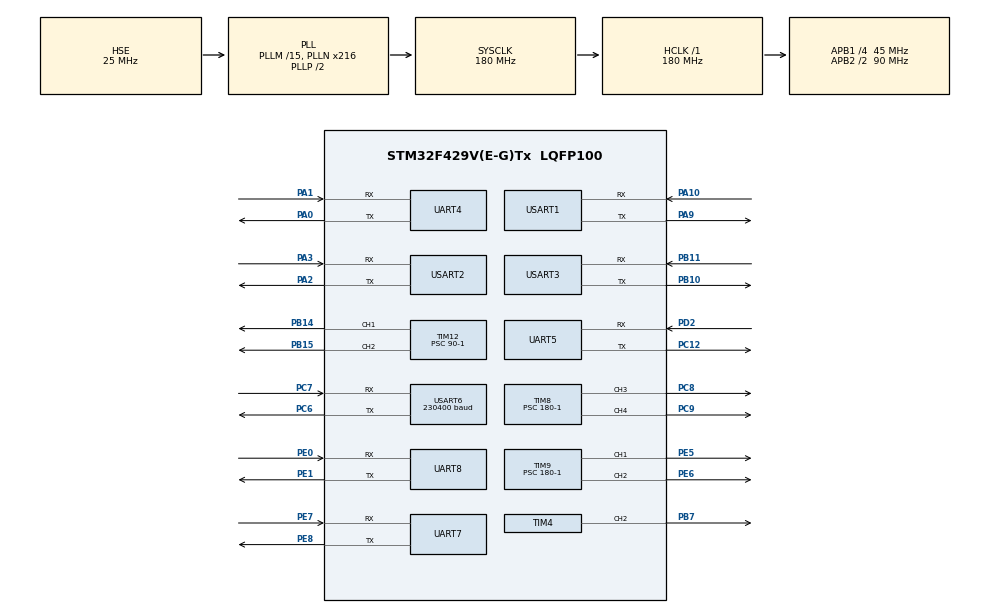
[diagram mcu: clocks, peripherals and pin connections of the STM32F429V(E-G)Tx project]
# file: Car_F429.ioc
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Dma.Request0=USART2_RX
Dma.Request1=UART4_RX
Dma.Request2=UART5_RX
Dma.Request3=UART7_RX
Dma.UART4_RX.1.Direction=DMA_PERIPH_TO_MEMORY
Dma.UART4_RX.1.FIFOMode=DMA_FIFOMODE_DISABLE
Dma.UART4_RX.1.Instance=DMA1_Stream2
Dma.UART4_RX.1.MemDataAlignment=DMA_MDATAALIGN_BYTE
Dma.UART4_RX.1.MemInc=DMA_MINC_ENABLE
Dma.UART4_RX.1.Mode=DMA_NORMAL
Dma.UART4_RX.1.PeriphDataAlignment=DMA_PDATAALIGN_BYTE
Dma.UART4_RX.1.PeriphInc=DMA_PINC_DISABLE
Dma.UART4_RX.1.Priority=DMA_PRIORITY_LOW
Dma.UART5_RX.2.Direction=DMA_PERIPH_TO_MEMORY
Dma.UART5_RX.2.FIFOMode=DMA_FIFOMODE_DISABLE
Dma.UART5_RX.2.Instance=DMA1_Stream0
Dma.UART5_RX.2.MemDataAlignment=DMA_MDATAALIGN_BYTE
Dma.UART5_RX.2.MemInc=DMA_MINC_ENABLE
Dma.UART5_RX.2.Mode=DMA_NORMAL
Dma.UART5_RX.2.PeriphDataAlignment=DMA_PDATAALIGN_BYTE
Dma.UART5_RX.2.PeriphInc=DMA_PINC_DISABLE
Dma.UART5_RX.2.Priority=DMA_PRIORITY_LOW
Dma.UART7_RX.3.Direction=DMA_PERIPH_TO_MEMORY
Dma.UART7_RX.3.FIFOMode=DMA_FIFOMODE_DISABLE
Dma.UART7_RX.3.Instance=DMA1_Stream3
Dma.UART7_RX.3.MemDataAlignment=DMA_MDATAALIGN_BYTE
Dma.UART7_RX.3.MemInc=DMA_MINC_ENABLE
Dma.UART7_RX.3.Mode=DMA_NORMAL
Dma.UART7_RX.3.PeriphDataAlignment=DMA_PDATAALIGN_BYTE
Dma.UART7_RX.3.PeriphInc=DMA_PINC_DISABLE
Dma.UART7_RX.3.Priority=DMA_PRIORITY_LOW
Dma.USART2_RX.0.Direction=DMA_PERIPH_TO_MEMORY
Dma.USART2_RX.0.FIFOMode=DMA_FIFOMODE_DISABLE
Dma.USART2_RX.0.Instance=DMA1_Stream5
Dma.USART2_RX.0.MemDataAlignment=DMA_MDATAALIGN_BYTE
Dma.USART2_RX.0.MemInc=DMA_MINC_ENABLE
Dma.USART2_RX.0.Mode=DMA_NORMAL
Dma.USART2_RX.0.PeriphDataAlignment=DMA_PDATAALIGN_BYTE
Dma.USART2_RX.0.PeriphInc=DMA_PINC_DISABLE
Dma.USART2_RX.0.Priority=DMA_PRIORITY_LOW
Mcu.Family=STM32F4
Mcu.Name=STM32F429V(E-G)Tx
Mcu.Package=LQFP100
NVIC.DMA1_Stream0_IRQn=true\:0\:0\:false\:false\:true\:false\:true\:true
NVIC.DMA1_Stream2_IRQn=true\:0\:0\:false\:false\:true\:false\:true\:true
NVIC.DMA1_Stream3_IRQn=true\:0\:0\:false\:false\:true\:false\:true\:true
NVIC.DMA1_Stream5_IRQn=true\:0\:0\:false\:false\:true\:false\:true\:true
NVIC.PriorityGroup=NVIC_PRIORITYGROUP_4
NVIC.TIM1_UP_TIM10_IRQn=true\:0\:0\:false\:false\:true\:true\:true\:true
NVIC.TIM2_IRQn=true\:0\:0\:false\:false\:true\:true\:true\:true
NVIC.TIM3_IRQn=true\:1\:0\:true\:false\:true\:true\:true\:true
NVIC.UART4_IRQn=true\:1\:0\:true\:false\:true\:true\:true\:true
NVIC.UART5_IRQn=true\:4\:0\:true\:false\:true\:true\:true\:true
NVIC.UART7_IRQn=true\:1\:0\:true\:false\:true\:true\:true\:true
NVIC.USART1_IRQn=true\:2\:0\:true\:false\:true\:true\:true\:true
NVIC.USART2_IRQn=true\:1\:0\:true\:false\:true\:true\:true\:true
NVIC.USART6_IRQn=true\:0\:0\:true\:false\:true\:true\:true\:true
PA0/WKUP.Mode=Asynchronous
PA0/WKUP.Signal=UART4_TX
PA1.Mode=Asynchronous
PA1.Signal=UART4_RX
PA10.Mode=Asynchronous
PA10.Signal=USART1_RX
PA13.Mode=Serial_Wire
PA13.Signal=SYS_JTMS-SWDIO
PA14.Mode=Serial_Wire
PA14.Signal=SYS_JTCK-SWCLK
PA2.Mode=Asynchronous
PA2.Signal=USART2_TX
PA3.Mode=Asynchronous
PA3.Signal=USART2_RX
PA9.Mode=Asynchronous
PA9.Signal=USART1_TX
PB10.Mode=Asynchronous
PB10.Signal=USART3_TX
PB11.Mode=Asynchronous
PB11.Signal=USART3_RX
PB14.Signal=S_TIM12_CH1
PB15.Signal=S_TIM12_CH2
PB7.Signal=S_TIM4_CH2
PC12.Mode=Asynchronous
PC12.Signal=UART5_TX
PC6.Mode=Asynchronous
PC6.Signal=USART6_TX
PC7.Mode=Asynchronous
PC7.Signal=USART6_RX
PC8.Signal=S_TIM8_CH3
PC9.Signal=S_TIM8_CH4
PD2.Mode=Asynchronous
PD2.Signal=UART5_RX
PE0.Mode=Asynchronous
PE0.Signal=UART8_RX
PE1.Mode=Asynchronous
PE1.Signal=UART8_TX
PE5.Signal=S_TIM9_CH1
PE6.Signal=S_TIM9_CH2
PE7.Mode=Asynchronous
PE7.Signal=UART7_RX
PE8.Mode=Asynchronous
PE8.Signal=UART7_TX
PH0/OSC_IN.Mode=HSE-External-Oscillator
PH0/OSC_IN.Signal=RCC_OSC_IN
PH1/OSC_OUT.Mode=HSE-External-Oscillator
PH1/OSC_OUT.Signal=RCC_OSC_OUT
ProjectManager.HeapSize=0x200
ProjectManager.StackSize=0x400
ProjectManager.TargetToolchain=CMake
RCC.48MHZClocksFreq_Value=90000000
RCC.AHBFreq_Value=180000000
RCC.APB1CLKDivider=RCC_HCLK_DIV4
RCC.APB1Freq_Value=45000000
RCC.APB1TimFreq_Value=90000000
RCC.APB2CLKDivider=RCC_HCLK_DIV2
RCC.APB2Freq_Value=90000000
RCC.APB2TimFreq_Value=180000000
RCC.CortexFreq_Value=180000000
RCC.HCLKFreq_Value=180000000
RCC.HSE_VALUE=25000000
RCC.HSI_VALUE=16000000
RCC.LSE_VALUE=32768
RCC.PLLM=15
RCC.PLLN=216
RCC.PLLSourceVirtual=RCC_PLLSOURCE_HSE
RCC.SYSCLKFreq_VALUE=180000000
RCC.SYSCLKSource=RCC_SYSCLKSOURCE_PLLCLK
RCC.VCOOutputFreq_Value=360000000
SH.S_TIM12_CH1.0=TIM12_CH1,PWM Generation1 CH1
SH.S_TIM12_CH2.0=TIM12_CH2,PWM Generation2 CH2
SH.S_TIM4_CH2.0=TIM4_CH2,PWM Generation2 CH2
SH.S_TIM8_CH3.0=TIM8_CH3,PWM Generation3 CH3
SH.S_TIM8_CH4.0=TIM8_CH4,PWM Generation4 CH4
SH.S_TIM9_CH1.0=TIM9_CH1,PWM Generation1 CH1
SH.S_TIM9_CH2.0=TIM9_CH2,PWM Generation2 CH2
TIM1.AutoReloadPreload=TIM_AUTORELOAD_PRELOAD_ENABLE
TIM1.Period=5000-1
TIM1.Prescaler=180-1
TIM12.AutoReloadPreload=TIM_AUTORELOAD_PRELOAD_ENABLE
TIM12.Channel-PWM\ Generation1\ CH1=TIM_CHANNEL_1
TIM12.Channel-PWM\ Generation2\ CH2=TIM_CHANNEL_2
TIM12.Period=20000-1
TIM12.Prescaler=90-1
TIM2.AutoReloadPreload=TIM_AUTORELOAD_PRELOAD_ENABLE
TIM2.Period=50000-1
TIM2.Prescaler=1800-1
TIM3.AutoReloadPreload=TIM_AUTORELOAD_PRELOAD_ENABLE
TIM3.Period=50000-1
TIM3.Prescaler=1800-1
TIM4.AutoReloadPreload=TIM_AUTORELOAD_PRELOAD_ENABLE
TIM4.Channel-PWM\ Generation2\ CH2=TIM_CHANNEL_2
TIM4.Period=20000-1
TIM4.Prescaler=90-1
TIM8.AutoReloadPreload=TIM_AUTORELOAD_PRELOAD_ENABLE
TIM8.Channel-PWM\ Generation3\ CH3=TIM_CHANNEL_3
TIM8.Channel-PWM\ Generation4\ CH4=TIM_CHANNEL_4
TIM8.Period=20000-1
TIM8.Prescaler=180-1
TIM9.AutoReloadPreload=TIM_AUTORELOAD_PRELOAD_ENABLE
TIM9.Channel-PWM\ Generation1\ CH1=TIM_CHANNEL_1
TIM9.Channel-PWM\ Generation2\ CH2=TIM_CHANNEL_2
TIM9.Period=20000-1
TIM9.Prescaler=180-1
UART4.VirtualMode=Asynchronous
UART5.VirtualMode=Asynchronous
UART7.VirtualMode=Asynchronous
UART8.VirtualMode=Asynchronous
USART1.VirtualMode=VM_ASYNC
USART2.VirtualMode=VM_ASYNC
USART3.VirtualMode=VM_ASYNC
USART6.BaudRate=230400
USART6.VirtualMode=VM_ASYNC
VP_TIM12_VS_ClockSourceINT.Mode=Internal
VP_TIM1_VS_ClockSourceINT.Mode=Internal
VP_TIM2_VS_ClockSourceINT.Mode=Internal
VP_TIM3_VS_ClockSourceINT.Mode=Internal
VP_TIM4_VS_ClockSourceINT.Mode=Internal
VP_TIM8_VS_ClockSourceINT.Mode=Internal
VP_TIM9_VS_ClockSourceINT.Mode=Internal
board=custom

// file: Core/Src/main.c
/* USER CODE BEGIN Header */
/**
 ******************************************************************************
 * @file           : main.c
 * @brief          : Main program body
 ******************************************************************************
 * @attention
 *
 * Copyright (c) 2026 STMicroelectronics.
 * All rights reserved.
 *
 * This software is licensed under terms that can be found in the LICENSE file
 * in the root directory of this software component.
 * If no LICENSE file comes with this software, it is provided AS-IS.
 *
 ******************************************************************************
 */
/* USER CODE END Header */
#include "main.h"
#include "dma.h"
#include "gpio.h"
#include "tim.h"
#include "usart.h"

/* USER CODE BEGIN Includes */
#include "OPS9.h"
#include "ar_screen.h"
#include "arm_control.h"
#include "cy_z.h"
#include "ldrobot_stl.h"
#include "lub_cat.h"
#include "math.h"
#include "motor.h"
#include "path_plan.h"
#include "servo_motor.h"
#include "stdio.h"
#include "string.h"
#include <complex.h>
#include <stdbool.h>
#include <stdint.h>
#include <stdlib.h>
#include <sys/_intsup.h>

/* USER CODE END Includes */

/* USER CODE BEGIN PD */
#define compensation_angle_1 1
#define compensation_angle_2 2
/* USER CODE END PD */

/* USER CODE BEGIN PV */
typedef enum {
  STATE_INIT,
  STATE_NAV,
  STATE_STOP,
} SystemState_t;
typedef enum {
  start_stop_zone_1 = 0x01,
  start_stop_zone_2 = 0x02,
} start_stop_zone;
//-----------------------------------全局变量----------------------------------*/
uint8_t OPS_redata[OPS9_data_len];
volatile float OPS_angle = 0.0f;
volatile float OPS_X = 0.0f;
volatile float OPS_Y = 0.0f;
uint8_t CAT_redata[CAT_data_len];
volatile int16_t CAT_x = 0;
volatile int16_t CAT_y = 0;
uint8_t ar_data[30];
uint8_t ar_material_order[6] = {};
uint8_t ar_number_order[6] = {};
uint8_t cyz_redata[16];
volatile float cyz_angle = 0;
uint8_t cyz_cmd[8] = {0xA5, 0x5A, 0x01, 0x02, 0x02, 0xF8, 0x91, 0x5A};
uint8_t cyz_clear[8] = {0xA5, 0x5A, 0x01, 0x01, 0x01, 0x30, 0x00, 0x5A};
uint8_t volatile current_task_m = 255;
start_stop_zone map_zone;
/*----------------------------------------------调试变量(可删)----------------------------*/
uint8_t receive;
uint8_t pathl[4];
int pt[4];
bool pt_sta = false;
uint8_t hc_os[17];
int goal_x = 0, goal_y = 0, goal_w = 0;
volatile bool re_sta = false;
uint8_t car_debug[13];
uint8_t car_debug_dalen = 0;
bool car_debug_state = false;
char cd[20] = {};

/*-----------------------------------状态变量----------------------------------*/
uint32_t ALL_time = 0;
uint8_t posit_state = 0; // 状态机
uint8_t arm_state = 0;
volatile bool send_data_state = true;
volatile bool opsready = false;
volatile bool catready = false;
volatile bool ar_screen_sta =
    false; /* true = AR_Screen 接收数据完成标志，主循环用 */
volatile bool cyz_state = false;
SystemState_t currentState = STATE_INIT;
/* 雷达障碍物只投影一次的一次性标志。
 * 进 STATE_NAV 那一刻车还静止，位姿最准；投影完就冻结，之后不再重建
 * （否则车开出去后还会用新位姿去套起步时的旧读数，障碍物整体平移）。 */
static bool radar_painted = false;
/* USER CODE END PV */

void SystemClock_Config(void);

/* USER CODE BEGIN 0 */
/*-----------------------------------电机控制=----------------------*/
void HAL_TIM_PeriodElapsedCallback(TIM_HandleTypeDef *htim) {
  if (htim == &htim1) { // 发送数据至电机
    static int id = 0;
    id++;
    if (id == 5) {
      id = 0;
      motor_go();
      HAL_TIM_Base_Stop_IT(&htim1);
      __HAL_TIM_CLEAR_IT(&htim1, TIM_IT_UPDATE);
      __HAL_TIM_SET_COUNTER(&htim1, 0);
      send_data_state = true;
    } else
      send_motor_speed(id);
  } else if (htim == &htim2) {
    if (current_task_m == 255) {
      return;
    } else if (current_task_m < 3) {
      Lub_Cat_send_yolo(current_task_m);
    } else if (current_task_m < 9) {
      Lub_Cat_send_material(current_task_m - 2);
    } else if (current_task_m == 9) {
      Lub_Cat_send_ring();
    }
  } else if (htim == &htim3) {
    static uint8_t a = 0;
    a++;
    if (a > 13) {
      a = 0;
      HAL_TIM_Base_Stop_IT(htim);
      currentState = STATE_NAV;
    }
  }
}

/*-------------------------------------串口接收事件回调函数-------------------------*/
void HAL_UARTEx_RxEventCallback(UART_HandleTypeDef *huart, uint16_t Size) {
  //  没有检测到 AF FA 91 CF FC
  if (huart == &huart4) { // 鲁班猫数据处理
    if (Size == 5) {
      static uint8_t cat_error_num = 0;
      if (CAT_redata[0] == 0xAF && CAT_redata[1] == 0xFA &&
          CAT_redata[2] == 0x91 && CAT_redata[3] == 0xCF &&
          CAT_redata[4] == 0xFC) {
        cat_error_num++;
        catready = false;
      }
    }
    if (CAT_redata[0] == 0xAF && CAT_redata[1] == 0xFA &&
        CAT_redata[2] == 0x0B) {
      if (CAT_redata[9] == 0xCF && CAT_redata[10] == 0xFC) {
        CAT_x = *(int16_t *)&CAT_redata[4];
        CAT_y = *(int16_t *)&CAT_redata[6];
        catready = true;
        // HAL_UART_Transmit(&huart4, (uint8_t *)"luban_ready",
        //                   sizeof("luban_ready") - 1, HAL_MAX_DELAY);
      }
    } else if (CAT_redata[0] == 0xAF && CAT_redata[1] == 0XFA &&
               CAT_redata[2] == 0x0C) {
      if (CAT_redata[10] == 0xCF && CAT_redata[11] == 0xFC) {
        CAT_x = *(int16_t *)&CAT_redata[5];
        CAT_y = *(int16_t *)&CAT_redata[7];
        catready = true;
        // HAL_UART_Transmit(&huart4, (uint8_t *)"luban_ready",
        //                   sizeof("luban_ready") - 1, HAL_MAX_DELAY);
      }
    }
    /* DMA_NORMAL 模式收完一包即停，必须重装接收，否则坐标只收一次 */
    Lub_Cat_receive_start();
  } else if (huart == &huart2) { // OPS9数据处理
    if (Size == 28 && OPS_redata[0] == 0x0D && OPS_redata[1] == 0x0A &&
        OPS_redata[26] == 0x0A && OPS_redata[27] == 0x0D) {
      // if (cyz_state == true) {
      //   cyz_state = false;
      //   OPS_angle = cyz_angle;
      // }
      OPS_angle = *(float *)&OPS_redata[2];
      OPS_X = *(float *)&OPS_redata[14];
      OPS_Y = *(float *)&OPS_redata[18];
      if (posit_state >= 2) {
        OPS_angle += 1;
      }
      if (posit_state >= 5) {
        OPS_angle += 2;
      }
      if (OPS_angle >= 180) {
        OPS_angle = 180;
      }
      float temp = OPS_X;
      OPS_X = OPS_Y;
      OPS_Y = -temp;
      /* 这里不要再去改 OPS_angle 本身。
       * 原来那 4 行在 current_r==180 时把 -178 加成 182，紧跟着下面这个 ±180
       * 校验立刻就不认它了 → opsready 再也置不起来 → pid_to_v 一直 return false
       * →
       * 不再下发新指令，驱动板保持上一条速度把车带走，也就是"跑到180度后跑偏"。
       * 就近方向的判断已挪到 motor.c 的
       * ang_diff()，用局部量做，全局读数保持原样。 */

      if (OPS_X >= -20000.0f && OPS_X <= 20000.0f && OPS_Y >= -20000.0f &&
          OPS_Y <= 20000.0f && OPS_angle >= -180.0f && OPS_angle <= 180.0f) {
        opsready = true;
      }
    }
    /* DMA_NORMAL 模式收完一包即停，必须重装接收，否则坐标只收一次 */
    ops9_receive_start();
  } else if (huart == &huart5) { // 陀螺仪
    if (Size == 16) {
      if (cyz_redata[0] == 0xAA && cyz_redata[1] == 0x55) {
        cyz_state = true;
        cyz_angle = *(float *)&cyz_redata[4];
      }
    }
    cyz_receive_start();
  } else if (huart == &huart7) { // AR_Screen数据处理
    if (Size > 14) {
      ar_screen_sta = true;
    }
  } else if (huart == &huart6) { // 乐动 STL-06N 激光雷达
    ldrobot_stl_rx_event_callback(huart, Size);
  } else if (huart == &huart1) { // 调试
    car_debug_state = true;
    car_debug_dalen = Size;
    HAL_UARTEx_ReceiveToIdle_IT(&huart1, car_debug, 13);
  }
}
/*------------------------------------数据接收错误重启--------------------------------__*/
void HAL_UART_ErrorCallback(UART_HandleTypeDef *huart) {
  if (huart == &huart2) {
    // 无条件清除所有错误标志
    __HAL_UART_CLEAR_FLAG(huart, UART_FLAG_PE | UART_FLAG_FE | UART_FLAG_NE |
                                     UART_FLAG_ORE);
    // 清空HAL库错误标记
    huart->ErrorCode = HAL_UART_ERROR_NONE;

    // 重启串口接收（此时 HAL 已将 RxState 置为 READY，可安全重装）
    ops9_receive_start();
  }
  if (huart == &huart6) { // 乐动 STL-06N 激光雷达
    ldrobot_stl_rx_error_callback(huart);
  }
}
/* USER CODE END 0 */

int main(void) {

  /* MCU Configuration--------------------------------------------------------*/

  /* Reset of all peripherals, Initializes the Flash interface and the Systick.
   */
  HAL_Init();

  /* Configure the system clock */
  SystemClock_Config();

  /* Initialize all configured peripherals */
  MX_GPIO_Init();
  MX_DMA_Init();
  MX_TIM1_Init();
  MX_TIM3_Init();
  MX_TIM8_Init();
  MX_TIM9_Init();
  MX_UART4_Init();
  MX_UART5_Init();
  MX_UART8_Init();
  MX_USART1_UART_Init();
  MX_USART2_UART_Init();
  MX_USART3_UART_Init();
  MX_USART6_UART_Init();
  MX_TIM12_Init();
  MX_TIM4_Init();
  MX_UART7_Init();
  MX_TIM2_Init();
  /* USER CODE BEGIN 2 */
  //--------------------------------初始化----------------------------------
  // HAL_UART_Transmit(&huart5, cyz_cmd, 8, HAL_MAX_DELAY); // 陀螺仪
  servo_init(); // 舵机初始化
  // motor_en();           // 电机使能
  motor_noen();
  ops9_receive_start(); /* 启动 OPS9 接收 DMA */
  Lub_Cat_receive_start();
  ldrobot_stl_init(); /* 启动 STL-06N 激光雷达 USART6 接收 */
  /* 雷达上电默认就是 10Hz（3600 度/秒），这里主动下发一次 0xA2 显式设成
   * 10Hz，万一把转速设低了或者跑偏，这条指令能拉回默认值。 */
  ldrobot_stl_set_speed(LDR_STL_SCAN_SPEED_DPS);
  HAL_TIM_Base_Start_IT(&htim2);
  // HAL_TIM_Base_Start_IT(&htim3); // OPS9启动
  uint8_t stack[3];
  uint8_t stack3[3];
  map_zone = start_stop_zone_1;
  //--------------------------------调试----------------------------------
  //	HAL_UART_Receive_IT(&huart1, pathl, sizeof(pathl));//路径规划
  //	HAL_UART_Receive_IT(&huart1, &receive, 1);
  HAL_UARTEx_ReceiveToIdle_IT(&huart1, car_debug, 13); // 整车调试

  /* 起 TIM3：PSC=1799 / ARR=49999，APB1 定时器时钟 90MHz
   *   → 90M / 1800 / 50000 = 1Hz，1 秒一次中断。
   * 回调里数到 14 次（a > 13）才转 STATE_NAV —— 所以实际是 14 秒。
   * 这 14 秒主循环在 STATE_INIT 空转，只跑 ldrobot_stl_process() 收雷达，
   * 等 OPS9 起来。这就是"先扫 14 秒，再导航"。 */

  /* USER CODE END 2 */

  /* Infinite loop */
  while (1) {

    /* USER CODE BEGIN 3 */
    //-----------------调试------------------------
    if (car_debug_state) {
      car_debug_state = false;
      if (car_debug_dalen == 3) {
        if (car_debug[0] == 'g' && car_debug[1] == 'g') {
          grab_ground_id(car_debug[2] - 48);
        } else if (car_debug[0] == 'g' && car_debug[1] == 'p') {
          grab_plate(car_debug[2] - 48, 1);
        } else if (car_debug[0] == 'p' && car_debug[1] == 'g') {
          place_ground(car_debug[2] - 48);
        } else if (car_debug[0] == 'p' && car_debug[1] == 'p') {
          place_plate(car_debug[2] - 48);
        } else if (car_debug[0] == 'p' && car_debug[1] == 'b') {
          place_block(car_debug[2] - 48);
        }
      } else if (car_debug_dalen == 4) { // 鲁班猫调试
        //         色环检测	AF FA 07 01 01 CF FC
        // 物料-红色	AF FA 08 02 01 03 CF FC
        // 物料-黄色	AF FA 08 02 02 00 CF FC
        // 物料-蓝色	AF FA 08 02 03 01 CF FC
        // 物料-绿色	AF FA 08 02 04 06 CF FC
        // 物料-黑色	AF FA 08 02 05 07 CF FC
        // 物料-浅蓝色	AF FA 08 02 06 04 CF FC
        Lub_Cat_receive_start();
        if (car_debug[0] == 'f' && car_debug[3] == 'f') {
          if (car_debug[1] == '1') {
            Lub_Cat_send_yolo(car_debug[2] - 48);
            if (cat_centre_calibrate()) {
              HAL_UART_Transmit(&huart1, (uint8_t *)"对齐", sizeof("对齐") - 1,
                                HAL_MAX_DELAY);
            }
          } else if (car_debug[1] == '2') {
            Lub_Cat_send_ring();
            if (cat_centre_calibrate()) {
              HAL_UART_Transmit(&huart1, (uint8_t *)"对齐", sizeof("对齐") - 1,
                                HAL_MAX_DELAY);
            }
          } else if (car_debug[1] == '3') {
            Lub_Cat_send_material(car_debug[2] - 48);
            if (cat_centre_calibrate()) {

              HAL_UART_Transmit(&huart1, (uint8_t *)"对齐", sizeof("对齐") - 1,
                                HAL_MAX_DELAY);
            }
          } else if (car_debug[1] == '4') {
            Lub_Cat_send_material(car_debug[2] - 48);
            if (cat_centre_calibrate_material()) {

              HAL_UART_Transmit(&huart1, (uint8_t *)"对齐", sizeof("对齐") - 1,
                                HAL_MAX_DELAY);
            }
          } else if (car_debug[1] == '0' && car_debug[2] == '0') {
            Lub_Cat_send_exit();
          }
        } else if (car_debug[0] == 'f' && car_debug[3] == 'a') {
          if (car_debug[1] == '3') {
            Lub_Cat_send_material(car_debug[2] - 48);
            if (cat_centre_calibrate_arm()) {

              HAL_UART_Transmit(&huart1, (uint8_t *)"对齐", sizeof("对齐") - 1,
                                HAL_MAX_DELAY);
            }
          }
        }
      } else if (car_debug_dalen == 5) { // 机械臂调试
        if (car_debug[0] == 'f') {
          int pulse = (car_debug[2] - 48) * 100 + (car_debug[3] - 48) * 10 +
                      car_debug[4] - 48;
          servo_set_angle(car_debug[1] - 48, pulse);
        } else if (car_debug[0] == '+') { // 升降
          int num = (car_debug[2] - 48) * 100 + (car_debug[3] - 48) * 10 +
                    car_debug[4] - 48;
          if (car_debug[1] == '0') {
            send_motor_place_absolute(0, (uint32_t)num);
          } else {
            send_motor_place_relative(0, (uint32_t)num);
          }
        } else if (car_debug[0] == '-') { // 升降
          int num = (car_debug[2] - 48) * 100 + (car_debug[3] - 48) * 10 +
                    car_debug[4] - 48;
          if (car_debug[1] == '0') {
            send_motor_place_absolute(1, (uint32_t)num);
          } else {
            send_motor_place_relative(1, (uint32_t)num);
          }
        }
      } else if (car_debug_dalen == 6) {
        Lub_Cat_receive_start();
        HAL_Delay(500);
        pid_to_goal(200, 200, 0);
      } else if (car_debug_dalen == 7) {
        if (car_debug[0] == 'g' && car_debug[1] == 'o') {
          currentState = STATE_NAV;
        }
      } else if (car_debug_dalen == 13) { // 定位
        goal_x = 0;
        goal_y = 0;
        goal_w = 0;
        goal_x = (car_debug[1] - 48) * 1000 + (car_debug[2] - 48) * 100 +
                 (car_debug[3] - 48) * 10;
        goal_y = (car_debug[5] - 48) * 1000 + (car_debug[6] - 48) * 100 +
                 (car_debug[7] - 48) * 10;
        goal_w = (car_debug[9] - 48) * 100 + (car_debug[10] - 48) * 10 +
                 (car_debug[11] - 48);
        if (car_debug[4] == '-') {
          goal_x = 0 - goal_x;
        }
        if (car_debug[8] == '-') {
          goal_y = 0 - goal_y;
        }
        if (car_debug[12] == '-') {
          goal_w = 0 - goal_w;
        }
        if (car_debug[0] == 'A') {
          if (pid_to_goal(goal_x, goal_y, goal_w)) {
            HAL_UART_Transmit(&huart1, (uint8_t *)"全局定位okk",
                              sizeof("全局定位okk") - 1, HAL_MAX_DELAY);
          }
        } else if (car_debug[0] == 'R') {
          if (pid_to_goal_relative(goal_x, goal_y, goal_w)) {
            HAL_UART_Transmit(&huart1, (uint8_t *)"相对移动okk",
                              sizeof("相对移动okk") - 1, HAL_MAX_DELAY);
          }
        } else if (car_debug[0] == 'S') {
          set_cur_pos(goal_w, goal_x, goal_y);
        }
      }
    }
    //-----------------状态机------------------------
    switch (currentState) { // 初始化，
    case STATE_INIT: {
      ldrobot_stl_process();
      continue;
    }

    case STATE_NAV: {
      if (!radar_painted) { /* 只在跳变那一瞬间画一次：此刻车还没动，
                             * 静止位姿投影最准。之后冻结。 */
        radar_painted = true;
        (void)PathPlan_UpdateFromRadar();
      }
      if (map_zone == start_stop_zone_2) {

        HAL_UART_Transmit(&huart5, cyz_clear, 8, HAL_MAX_DELAY);
        if (posit_state == 0 && pid_to_goal(200, 200, 0)) {
          posit_state = 1;
        }
        if (posit_state == 1 && pid_to_path(0, 0, 2, 0)) { // 路径规划
          pid_to_goal(current_x, current_y, 0);
          pid_to_goal_relative(0, 50, 0);
          AR_Screen_Start();
          HAL_Delay(100);
          AR_screen_stop();
          for (int pd = 0; pd < 3; pd++) {
            if (ar_number_order[pd] == 1) {
              stack[0] = pd;
            } else if (ar_number_order[pd] == 2) {
              stack[1] = pd;
            } else if (ar_number_order[pd] == 3) {
              stack[2] = pd;
            }
          }
          // for (int pd = 3; pd < 6; pd++) {
          //   if (ar_material_order[pd] == ar_material_order[stack[0]]) {
          //     stack2[0] = pd;
          //   } else if (ar_material_order[pd] == ar_material_order[stack[1]])
          //   {
          //     stack2[1] = pd;
          //   } else if (ar_material_order[pd] == ar_material_order[stack[2]])
          //   {
          //     stack2[2] = pd;
          //   }
          // }
          for (int pd = 0; pd < 3; pd++) {
            if (ar_material_order[3] == ar_material_order[pd]) {
              stack3[0] = pd;
            } else if (ar_material_order[4] == ar_material_order[pd]) {
              stack3[1] = pd;
            } else if (ar_material_order[5] == ar_material_order[pd]) {
              stack3[2] = pd;
            }
          }
          posit_state = 2;
        }
        if (posit_state == 2 && pid_to_path(2, 0, 4, 2)) { // 1抓
          pid_to_goal(current_x, current_y, 0);
          HAL_Delay(100);
          motor_stop();
          HAL_Delay(100);
          while (1) {
            pid_to_goal(current_x, current_y, current_r);
            HAL_Delay(100);
            motor_stop();
            HAL_Delay(100);
            if (arm_state == 0 && to_material_platform(ar_material_order[0])) {
              // set_cur_pos(1, 1920, 1050);
              grab_platform();
              place_plate(3);
              AR_Screen_SendData(1, 0);
              arm_state = 1;
            }
            if (arm_state == 1 && to_material_platform(ar_material_order[1])) {
              grab_platform();
              place_plate(2);
              AR_Screen_SendData(2, 0);
              arm_state = 2;
            }
            if (arm_state == 2 && to_material_platform(ar_material_order[2])) {
              grab_platform();
              place_plate(1);
              arm_free();
              AR_Screen_SendData(3, 0);
              arm_state = 0;
              break;
            }
          }

          posit_state = 3;
        }
        if (posit_state == 3 && pid_to_path(4, 2, 0, 2)) { // 放1
          pid_to_goal_relative(20, 0, 0);
          pid_to_goal(current_x, current_y, 180);
          if (to_yolo(CAT_YOLO_TWO)) {
            to_ring();
            set_cur_pos(179, 170, 1070);
            grab_plate(3, 1);
            place_ground(ar_number_order[0]);
            AR_Screen_SendData(3, 1);
            grab_plate(2, 1);
            place_ground(ar_number_order[1]);
            AR_Screen_SendData(3, 2);
            grab_plate(1, 0);
            place_ground(ar_number_order[2]);
            AR_Screen_SendData(3, 3);
            send_motor_place_absolute(motor_up, 0);
            HAL_Delay(100);
            grab_ground_id(ar_number_order[0]);
            place_plate(3);
            grab_ground_id(ar_number_order[1]);
            place_plate(2);
            grab_ground_id(ar_number_order[2]);
            place_plate(1);
            arm_free();
            refresh_lubcat();
          }
          posit_state = 4;
        }
        if (posit_state == 4 && pid_to_path(0, 2, 2, 4)) { // 放2
          pid_to_goal_relative(0, -30, 0);
          pid_to_goal(current_x, current_y, 90);
          if (to_yolo(CAT_YOLO_TWO)) {
            set_cur_pos(89, 1070, 1920);
            to_ring();
            grab_plate(3, 1);
            place_ground_two(ar_number_order[0]);
            AR_Screen_SendData(3, 1);
            grab_plate(2, 1);
            place_ground_two(ar_number_order[1]);
            AR_Screen_SendData(3, 2);
            grab_plate(1, 0);
            place_ground_two(ar_number_order[2]);
            AR_Screen_SendData(3, 3);
            arm_free();
            refresh_lubcat();
          }
          posit_state = 5;
        }
        if (posit_state == 5 && pid_to_path(2, 4, 4, 2)) { // 2抓

          pid_to_goal(current_x, current_y, 0);
          pid_to_goal_relative(-30, -25, 0);
          while (1) {
            pid_to_goal(current_x, current_y, current_r);
            if (arm_state == 0 && to_material_platform(ar_material_order[3])) {
              grab_platform();
              place_plate(3);
              AR_Screen_SendData(4, 3);
              arm_state = 1;
            }
            if (arm_state == 1 && to_material_platform(ar_material_order[4])) {
              grab_platform();
              place_plate(2);
              AR_Screen_SendData(5, 3);
              arm_state = 2;
            }

            if (arm_state == 2 && to_material_platform(ar_material_order[5])) {
              grab_platform();
              place_plate(1);
              arm_free();
              AR_Screen_SendData(6, 3);
              arm_state = 0;
              break;
            }
          }

          posit_state = 6;
        }
        if (posit_state == 6 && pid_to_path(4, 2, 0, 2)) { // 放1

          pid_to_goal(current_x, current_y, 180);
          pid_to_goal_relative(-55, 0, 0);

          if (to_yolo(CAT_YOLO_TWO)) {
            to_ring();
            set_cur_pos(177, 180, 1070);
            grab_plate(3, 1);
            place_ground(ar_number_order[3]);
            AR_Screen_SendData(6, 4);
            grab_plate(2, 1);
            place_ground(ar_number_order[4]);
            AR_Screen_SendData(6, 5);
            grab_plate(1, 0);
            place_ground(ar_number_order[5]);
            AR_Screen_SendData(6, 6);
            send_motor_place_absolute(motor_up, 0);
            HAL_Delay(100);
            grab_ground_id(ar_number_order[3]);
            place_plate(3);
            grab_ground_id(ar_number_order[4]);
            place_plate(2);
            grab_ground_id(ar_number_order[5]);
            place_plate(1);
            arm_free();
          }
          posit_state = 7;
        }
        if (posit_state == 7 && pid_to_path(0, 2, 2, 4)) {
          pid_to_goal(current_x, current_y, 90);
          pid_to_goal_relative(0, -30, 0);

          while (1) {
            pid_to_goal(current_x, current_y, current_r);
            if (to_material(ar_material_order[stack[1]])) {
              set_cur_pos(87, 1070, 1930);
              grab_plate(3, 1);
              place_block(ar_number_order[stack3[0]]);
              AR_Screen_SendData(6, 4);
              grab_plate(2, 1);
              if (stack3[0] == 2 && stack3[1] == 1) {
                servo_set_angle(SERVO_XH270, 10);
                pid_to_goal_relative(0, -50, 0);
                servo_set_angle(SERVO_XH360, place1_3servo);
              }
              place_block(ar_number_order[stack3[1]]);
              AR_Screen_SendData(6, 5);
              if (stack3[2] == 1) {
                pid_to_goal_relative(-70, 0, 0);
                if (to_material(ar_material_order[stack[0]])) {
                  grab_plate(1, 1);
                  place_block(2);
                  AR_Screen_SendData(6, 6);
                  arm_free();
                  posit_state = 8;
                  break;
                }
              }
              grab_plate(1, 1);
              place_block(ar_number_order[stack3[2]]);
              AR_Screen_SendData(6, 6);
              servo_set_angle(SERVO_SG90, servo_place);
              HAL_Delay(500);
              servo_set_angle(SERVO_XH270, grab2_2servo);
              servo_set_angle(SERVO_XH360, plate_two);
              HAL_Delay(500);
              break;
            }
          }

          posit_state = 8;
        }
        if (posit_state == 8 && pid_to_path(2, 4, 0, 0)) {
          posit_state = 9;
          if (pid_to_goal(-130, 65, 0))
            posit_state = 0;
          currentState = STATE_STOP;
        } else
          continue;
      }
      //--------------------------启停区1----------------------------
      else if (map_zone == start_stop_zone_1) {
        HAL_UART_Transmit(&huart5, cyz_clear, 8, HAL_MAX_DELAY);
        if (posit_state == 0 && pid_to_goal(200, 200, 0)) {
          posit_state = 1;
        }
        if (posit_state == 1 && pid_to_path(0, 0, 0, 2)) {
          pid_to_goal(current_x, current_y, -90);
          pid_to_goal_relative(50, 0, 0);
          AR_Screen_Start();
          HAL_Delay(100);
          AR_screen_stop();
          for (int pd = 0; pd < 3; pd++) {
            if (ar_number_order[pd] == 1) {
              stack[0] = pd;
            } else if (ar_number_order[pd] == 2) {
              stack[1] = pd;
            } else if (ar_number_order[pd] == 3) {
              stack[2] = pd;
            }
          }
          // for (int pd = 3; pd < 6; pd++) {
          //   if (ar_material_order[pd] == ar_material_order[stack[0]]) {
          //     stack2[0] = pd;
          //   } else if (ar_material_order[pd] == ar_material_order[stack[1]])
          //   {
          //     stack2[1] = pd;
          //   } else if (ar_material_order[pd] == ar_material_order[stack[2]])
          //   {
          //     stack2[2] = pd;
          //   }
          // }
          for (int pd = 0; pd < 3; pd++) {
            if (ar_material_order[3] == ar_material_order[pd]) {
              stack3[0] = pd;
            } else if (ar_material_order[4] == ar_material_order[pd]) {
              stack3[1] = pd;
            } else if (ar_material_order[5] == ar_material_order[pd]) {
              stack3[2] = pd;
            }
          }
          posit_state = 2;
        }
        if (posit_state == 2 && pid_to_path(0, 2, 2, 0)) { // 1抓
          pid_to_goal(current_x, current_y, -90);
          pid_to_goal_relative(0, -45, 0);
          HAL_Delay(100);
          motor_stop();
          HAL_Delay(100);
          while (1) {
            pid_to_goal(current_x, current_y, current_r);
            HAL_Delay(100);
            motor_stop();
            HAL_Delay(100);
            if (arm_state == 0 && to_material_platform(ar_material_order[0])) {
              // set_cur_pos(1, 1920, 1050);
              grab_platform();
              place_plate(3);
              AR_Screen_SendData(1, 0);
              arm_state = 1;
            }
            if (arm_state == 1 && to_material_platform(ar_material_order[1])) {
              grab_platform();
              place_plate(2);
              AR_Screen_SendData(2, 0);
              arm_state = 2;
            }
            if (arm_state == 2 && to_material_platform(ar_material_order[2])) {
              grab_platform();
              place_plate(1);
              arm_free();
              AR_Screen_SendData(3, 0);
              arm_state = 0;
              break;
            }
          }

          posit_state = 3;
        }
        if (posit_state == 3 && pid_to_path(2, 0, 2, 4)) { // 放1
          pid_to_goal_relative(0, -20, 0);
          pid_to_goal(current_x, current_y, 90);
          if (to_yolo(CAT_YOLO_TWO)) {
            to_ring();
            set_cur_pos(89, 1070, 1920);
            grab_plate(3, 1);
            place_ground(ar_number_order[0]);
            AR_Screen_SendData(3, 1);
            grab_plate(2, 1);
            place_ground(ar_number_order[1]);
            AR_Screen_SendData(3, 2);
            grab_plate(1, 0);
            place_ground(ar_number_order[2]);
            AR_Screen_SendData(3, 3);
            send_motor_place_absolute(motor_up, 0);
            HAL_Delay(100);
            grab_ground_id(ar_number_order[0]);
            place_plate(3);
            grab_ground_id(ar_number_order[1]);
            place_plate(2);
            grab_ground_id(ar_number_order[2]);
            place_plate(1);
            arm_free();
            refresh_lubcat();
          }
          posit_state = 4;
        }
        if (posit_state == 4 && pid_to_path(2, 4, 4, 2)) { // 放2
          pid_to_goal_relative(-45, 0, 0);
          pid_to_goal(current_x, current_y, 0);
          if (to_yolo(CAT_YOLO_TWO)) {
            set_cur_pos(1, 1900, 1050);
            to_ring();
            grab_plate(3, 1);
            place_ground_two(ar_number_order[0]);
            AR_Screen_SendData(3, 1);
            grab_plate(2, 1);
            place_ground_two(ar_number_order[1]);
            AR_Screen_SendData(3, 2);
            grab_plate(1, 0);
            place_ground_two(ar_number_order[2]);
            AR_Screen_SendData(3, 3);
            arm_free();
            refresh_lubcat();
          }
          posit_state = 5;
        }
        if (posit_state == 5 && pid_to_path(4, 2, 2, 0)) { // 2抓
          pid_to_goal_relative(25, 30, 0);
          pid_to_goal(current_x, current_y, -90);

          while (1) {
            pid_to_goal(current_x, current_y, current_r);
            if (arm_state == 0 && to_material_platform(ar_material_order[3])) {
              grab_platform();
              place_plate(3);
              AR_Screen_SendData(4, 3);
              arm_state = 1;
            }
            if (arm_state == 1 && to_material_platform(ar_material_order[4])) {
              grab_platform();
              place_plate(2);
              AR_Screen_SendData(5, 3);
              arm_state = 2;
            }

            if (arm_state == 2 && to_material_platform(ar_material_order[5])) {
              grab_platform();
              place_plate(1);
              arm_free();
              AR_Screen_SendData(6, 3);
              arm_state = 0;
              break;
            }
          }

          posit_state = 6;
        }
        if (posit_state == 6 && pid_to_path(2, 0, 2, 4)) { // 放1
          pid_to_goal_relative(0, -30, 0);
          pid_to_goal(current_x, current_y, 90);

          if (to_yolo(CAT_YOLO_TWO)) {
            to_ring();
            set_cur_pos(87, 1050, 1900);
            grab_plate(3, 1);
            place_ground(ar_number_order[3]);
            AR_Screen_SendData(6, 4);
            grab_plate(2, 1);
            place_ground(ar_number_order[4]);
            AR_Screen_SendData(6, 5);
            grab_plate(1, 0);
            place_ground(ar_number_order[5]);
            AR_Screen_SendData(6, 6);
            send_motor_place_absolute(motor_up, 0);
            HAL_Delay(100);
            grab_ground_id(ar_number_order[3]);
            place_plate(3);
            grab_ground_id(ar_number_order[4]);
            place_plate(2);
            grab_ground_id(ar_number_order[5]);
            place_plate(1);
            arm_free();
          }
          posit_state = 7;
        }
        if (posit_state == 7 && pid_to_path(2, 4, 4, 2)) { // 放2
          pid_to_goal(current_x, current_y, 0);
          pid_to_goal_relative(-45, 0, 0);

          while (1) {
            pid_to_goal(current_x, current_y, current_r);
            if (to_material(ar_material_order[stack[1]])) {
              set_cur_pos(3, 1900, 1050);
              grab_plate(3, 1);
              place_block(ar_number_order[stack3[0]]);
              AR_Screen_SendData(6, 4);
              grab_plate(2, 1);
              if (stack3[0] == 2 && stack3[1] == 1) {
                servo_set_angle(SERVO_XH270, 10);
                pid_to_goal_relative(-50, 0, 0);
                servo_set_angle(SERVO_XH360, place1_3servo);
              }
              place_block(ar_number_order[stack3[1]]);
              AR_Screen_SendData(6, 5);
              if (stack3[2] == 1) {
                pid_to_goal_relative(-70, 0, 0);
                if (to_material(ar_material_order[stack[0]])) {
                  grab_plate(1, 1);
                  place_block(2);
                  AR_Screen_SendData(6, 6);
                  arm_free();
                  posit_state = 8;
                  break;
                }
              }
              grab_plate(1, 1);
              place_block(ar_number_order[stack3[2]]);
              AR_Screen_SendData(6, 6);
              servo_set_angle(SERVO_SG90, servo_place);
              HAL_Delay(500);
              servo_set_angle(SERVO_XH270, grab2_2servo);
              servo_set_angle(SERVO_XH360, plate_two);
              HAL_Delay(500);
              break;
            }
          }

          posit_state = 8;
        }
        if (posit_state == 8 && pid_to_path(4, 2, 0, 0)) {
          posit_state = 9;
          if (pid_to_goal(-130, 55, 0))
            posit_state = 0;
          currentState = STATE_STOP;
        } else
          continue;
      }
    }
    case STATE_STOP: {
      motor_stop();
      /* 必须在这里重开 TIM3。回调里到点会 HAL_TIM_Base_Stop_IT(htim) 把它停掉，
       * 不重开的话第二轮会卡死在 STATE_INIT 永远进不了 STATE_NAV —— 车看着像
       * 上电了但一直不动。回调里的计数 a 在停机那一次已经清 0，所以直接 Start
       * 就是从 0 开始完整数 14 秒。 */
      radar_painted = false; /* 第二轮进 STATE_NAV 时要重新投影一次 */
      // HAL_TIM_Base_Start_IT(&htim3);
      currentState = STATE_INIT;
      break;
    }
    }
  }
  /* USER CODE END 3 */
}

void SystemClock_Config(void) {
  RCC_OscInitTypeDef RCC_OscInitStruct = {0};
  RCC_ClkInitTypeDef RCC_ClkInitStruct = {0};

  /** Configure the main internal regulator output voltage
   */
  __HAL_RCC_PWR_CLK_ENABLE();
  __HAL_PWR_VOLTAGESCALING_CONFIG(PWR_REGULATOR_VOLTAGE_SCALE1);

  /** Initializes the RCC Oscillators according to the specified parameters
   * in the RCC_OscInitTypeDef structure.
   */
  RCC_OscInitStruct.OscillatorType = RCC_OSCILLATORTYPE_HSE;
  RCC_OscInitStruct.HSEState = RCC_HSE_ON;
  RCC_OscInitStruct.PLL.PLLState = RCC_PLL_ON;
  RCC_OscInitStruct.PLL.PLLSource = RCC_PLLSOURCE_HSE;
  RCC_OscInitStruct.PLL.PLLM = 15;
  RCC_OscInitStruct.PLL.PLLN = 216;
  RCC_OscInitStruct.PLL.PLLP = RCC_PLLP_DIV2;
  RCC_OscInitStruct.PLL.PLLQ = 4;
  if (HAL_RCC_OscConfig(&RCC_OscInitStruct) != HAL_OK) {
    Error_Handler();
  }

  /** Activate the Over-Drive mode
   */
  if (HAL_PWREx_EnableOverDrive() != HAL_OK) {
    Error_Handler();
  }

  /** Initializes the CPU, AHB and APB buses clocks
   */
  RCC_ClkInitStruct.ClockType = RCC_CLOCKTYPE_HCLK | RCC_CLOCKTYPE_SYSCLK |
                                RCC_CLOCKTYPE_PCLK1 | RCC_CLOCKTYPE_PCLK2;
  RCC_ClkInitStruct.SYSCLKSource = RCC_SYSCLKSOURCE_PLLCLK;
  RCC_ClkInitStruct.AHBCLKDivider = RCC_SYSCLK_DIV1;
  RCC_ClkInitStruct.APB1CLKDivider = RCC_HCLK_DIV4;
  RCC_ClkInitStruct.APB2CLKDivider = RCC_HCLK_DIV2;

  if (HAL_RCC_ClockConfig(&RCC_ClkInitStruct, FLASH_LATENCY_5) != HAL_OK) {
    Error_Handler();
  }
}

void Error_Handler(void) {
  __disable_irq();
  while (1) {
  }
}
#ifdef USE_FULL_ASSERT
/**
 * @brief  Reports the name of the source file and the source line number
 *         where the assert_param error has occurred.
 * @param  file: pointer to the source file name
 * @param  line: assert_param error line source number
 * @retval None
 */
void assert_failed(uint8_t *file, uint32_t line) {
  /* USER CODE BEGIN 6 */
  /* User can add his own implementation to report the file name and line
     number, ex: printf("Wrong parameters value: file %s on line %d\r\n", file,
     line) */
  /* USER CODE END 6 */
}
#endif /* USE_FULL_ASSERT */
